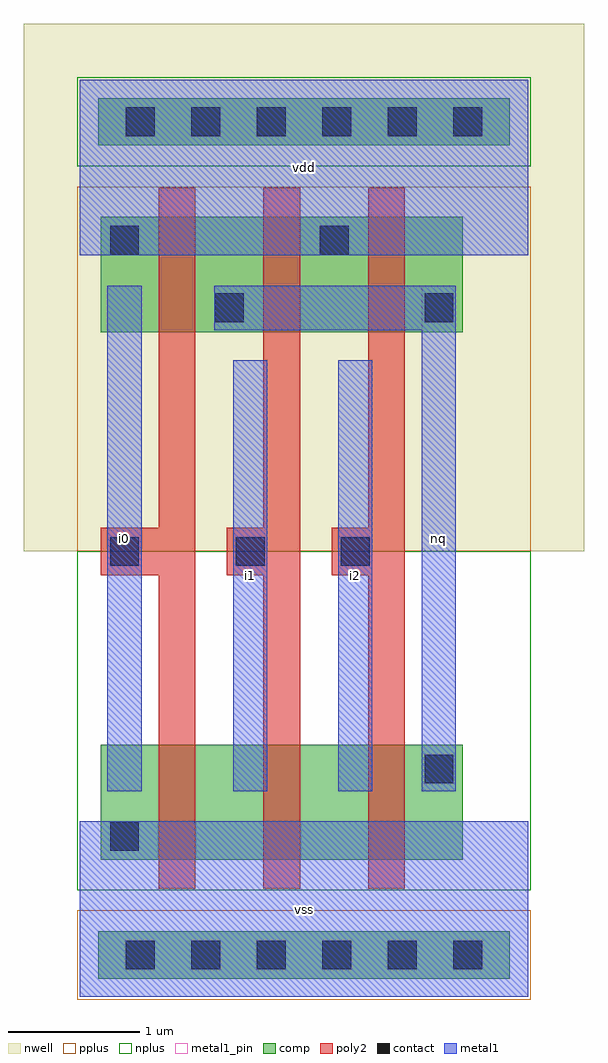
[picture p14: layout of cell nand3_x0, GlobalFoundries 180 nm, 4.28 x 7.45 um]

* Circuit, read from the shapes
.subckt nand3_x0 i0 i1 i2 nq vdd vss
XM1 n1 i0 vss vss nfet_03v3 w=0.88u l=0.28u
XM2 n2 i1 n1 vss nfet_03v3 w=0.88u l=0.28u
XM3 nq i2 n2 vss nfet_03v3 w=0.88u l=0.28u
XM4 nq i0 vdd vdd pfet_03v3 w=0.88u l=0.28u
XM5 vdd i1 nq vdd pfet_03v3 w=0.88u l=0.28u
XM6 nq i2 vdd vdd pfet_03v3 w=0.88u l=0.28u
.ends

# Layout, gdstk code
import gdstk
lib = gdstk.Library(unit=1e-6, precision=1e-09)
def R(c, l, rs):  # rectangles x0, y0, x1, y1
    for r in rs: c.add(gdstk.rectangle(r[:2], r[2:], *l))
def A(c, l, x, y, w, h, nx, ny, dx, dy):  # array of equal rectangles
    R(c, l, [(x+i*dx, y+j*dy, x+i*dx+w, y+j*dy+h) for i in range(nx) for j in range(ny)])
def P(c, l, *ps):  # polygons
    for p in ps: c.add(gdstk.Polygon(p, *l))
nwell = (21, 0)
comp = (22, 0)
poly2 = (30, 0)
pplus = (31, 0)
nplus = (32, 0)
contact = (33, 0)
metal1 = (34, 0)
metal1_pin = (34, 10)

nand3_x0 = lib.new_cell('nand3_x0')
R(nand3_x0, nwell, [(-0.43,3.4,3.85,7.43)])
R(nand3_x0, comp, [(0.14,0.14,3.28,0.5), (0.16,1.045,2.92,1.925), (0.16,5.075,2.92,5.955), (0.14,6.5,3.28,6.86)])
P(nand3_x0, poly2, [(0.6,0.825),(0.6,3.22),(0.16,3.22),(0.16,3.58),(0.6,3.58),(0.6,6.175),(0.88,6.175),(0.88,0.825)],
  [(1.4,0.825),(1.4,3.22),(1.12,3.22),(1.12,3.58),(1.4,3.58),(1.4,6.175),(1.68,6.175),(1.68,0.825)],
  [(2.2,0.825),(2.2,3.22),(1.92,3.22),(1.92,3.58),(2.2,3.58),(2.2,6.175),(2.48,6.175),(2.48,0.825)])
R(nand3_x0, pplus, [(-0.02,-0.02,3.44,0.66), (-0.02,3.4,3.44,6.185)])
R(nand3_x0, nplus, [(-0.02,0.815,3.44,3.4), (-0.02,6.34,3.44,7.02)])
A(nand3_x0, contact, 0.35, 0.21, 0.22, 0.22, 6, 2, 0.5, 6.36)
R(nand3_x0, contact, [(0.23,1.115,0.45,1.335), (2.63,1.63,2.85,1.85), (0.23,3.29,0.45,3.51), (1.19,3.29,1.41,3.51), (1.99,3.29,2.21,3.51), (1.03,5.15,1.25,5.37), (2.63,5.15,2.85,5.37), (0.23,5.665,0.45,5.885), (1.83,5.665,2.05,5.885)])
R(nand3_x0, metal1, [(0,0,3.42,1.34), (0.21,1.57,0.47,5.43), (1.17,1.57,1.43,4.86), (1.97,1.57,2.23,4.86), (0,5.66,3.42,7)])
P(nand3_x0, metal1, [(2.61,1.57),(2.61,5.09),(1.025,5.09),(1.025,5.43),(2.87,5.43),(2.87,1.57)])
R(nand3_x0, metal1_pin, [(0,0,3.42,1.34), (0.21,1.57,0.47,5.43), (1.17,1.57,1.43,4.86), (1.97,1.57,2.23,4.86), (2.61,1.57,2.87,5.43), (0,5.66,3.42,7)])
nand3_x0.add(gdstk.Label('vss', (1.71,0.67), layer=34, texttype=10))
nand3_x0.add(gdstk.Label('vdd', (1.71,6.33), layer=34, texttype=10))
nand3_x0.add(gdstk.Label('i0', (0.34,3.5), layer=34, texttype=10))
nand3_x0.add(gdstk.Label('nq', (2.74,3.5), layer=34, texttype=10))
nand3_x0.add(gdstk.Label('i1', (1.3,3.215), layer=34, texttype=10))
nand3_x0.add(gdstk.Label('i2', (2.1,3.215), layer=34, texttype=10))

lib.write_gds('nand3_x0.gds')
